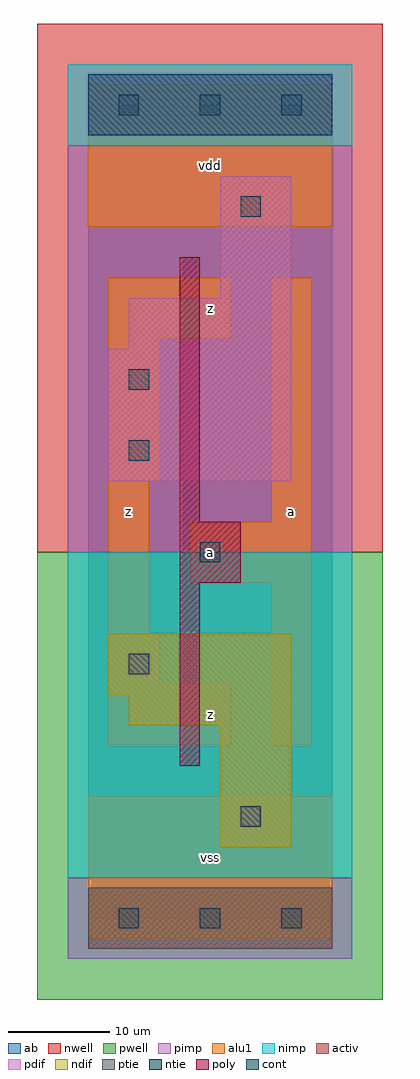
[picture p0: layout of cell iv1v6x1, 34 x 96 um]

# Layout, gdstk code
import gdstk
lib = gdstk.Library(unit=1e-6, precision=1e-09)
def R(c, l, rs):  # rectangles x0, y0, x1, y1
    for r in rs: c.add(gdstk.rectangle(r[:2], r[2:], *l))
def A(c, l, x, y, w, h, nx, ny, dx, dy):  # array of equal rectangles
    R(c, l, [(x+i*dx, y+j*dy, x+i*dx+w, y+j*dy+h) for i in range(nx) for j in range(ny)])
ndif = (3, 0)
pdif = (4, 0)
ntie = (5, 0)
ptie = (6, 0)
cont = (25, 0)
pwell = (41, 0)
nwell = (42, 0)
activ = (43, 0)
pimp = (44, 0)
nimp = (45, 0)
poly = (46, 0)
alu1 = (49, 0)
ab = (63, 0)

iv1v6x1 = lib.new_cell('iv1v6x1')
R(iv1v6x1, ndif, [(13,7,20,19), (4,19,20,22), (2,22,20,28)])
R(iv1v6x1, pdif, [(2,43,20,56), (4,56,20,61), (13,61,20,73)])
R(iv1v6x1, ntie, [(0,77,24,83)])
R(iv1v6x1, ptie, [(0,-3,24,3)])
A(iv1v6x1, cont, 3, -1, 2, 2, 3, 2, 8, 80)
R(iv1v6x1, cont, [(15,9,17,11), (4,24,6,26), (11,35,13,37), (4,45,6,47), (4,52,6,54), (15,69,17,71)])
R(iv1v6x1, pwell, [(-5,-8,29,36)])
R(iv1v6x1, nwell, [(-5,36,29,88)])
R(iv1v6x1, activ, [(0,-3,24,3), (13,7,20,19), (4,19,20,22), (2,22,20,28), (2,43,20,56), (4,56,20,61), (13,61,20,73), (0,77,24,83)])
R(iv1v6x1, pimp, [(-2,-4,26,4), (-2,36,26,76)])
R(iv1v6x1, nimp, [(-2,4,26,36), (-2,76,26,84)])
R(iv1v6x1, poly, [(9,15,11,33), (9,33,15,39), (9,39,11,65)])
R(iv1v6x1, alu1, [(0,-2,24,12), (2,17,14,23), (18,17,22,33), (2,23,7,28), (2,28,6,43), (10,33,22,39), (18,39,22,63), (2,43,7,57), (2,57,14,63), (0,68,24,82)])
R(iv1v6x1, ab, [(0,0,24,80)])
iv1v6x1.add(gdstk.Label('z', (4,40), layer=49, texttype=0))
iv1v6x1.add(gdstk.Label('vss', (12,6), layer=49, texttype=0))
iv1v6x1.add(gdstk.Label('z', (12,20), layer=49, texttype=0))
iv1v6x1.add(gdstk.Label('a', (12,36), layer=49, texttype=0))
iv1v6x1.add(gdstk.Label('z', (12,60), layer=49, texttype=0))
iv1v6x1.add(gdstk.Label('vdd', (12,74), layer=49, texttype=0))
iv1v6x1.add(gdstk.Label('a', (20,40), layer=49, texttype=0))

lib.write_gds('iv1v6x1.gds')
